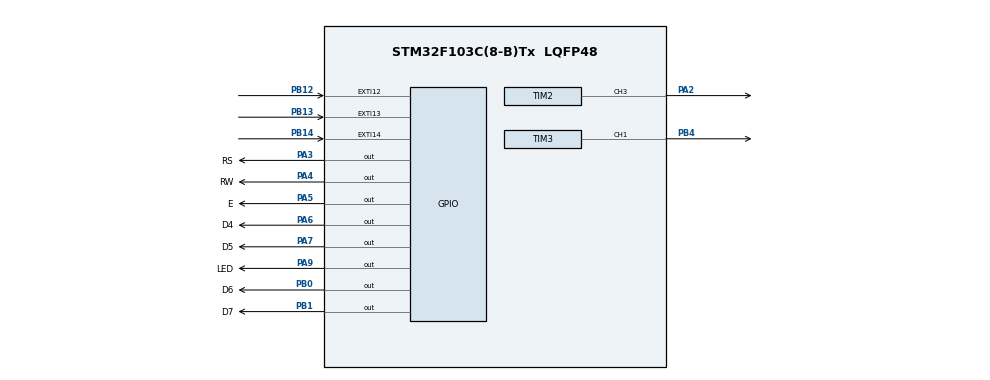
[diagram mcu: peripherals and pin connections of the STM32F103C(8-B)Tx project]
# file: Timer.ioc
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Mcu.Family=STM32F1
PB14.GPIO_ModeDefaultEXTI=GPIO_MODE_IT_FALLING
TIM3.AutoReloadPreload=TIM_AUTORELOAD_PRELOAD_ENABLE
PA9.GPIO_Label=LED
PA6.GPIO_Label=D4
PB0.GPIO_Label=D6
RCC.APB1CLKDivider=RCC_HCLK_DIV2
PB13.Signal=GPXTI13
PB13.GPIO_ModeDefaultEXTI=GPIO_MODE_IT_FALLING
RCC.SYSCLKSource=RCC_SYSCLKSOURCE_PLLCLK
ProjectManager.StackSize=0x400
PA13.Signal=SYS_JTMS-SWDIO
ProjectManager.TargetToolchain=MDK-ARM V5.27
RCC.HCLKFreq_Value=60000000
RCC.APB2TimFreq_Value=60000000
TIM3.Period=0xFFFF-1
PA9.Signal=GPIO_Output
RCC.USBFreq_Value=60000000
RCC.AHBFreq_Value=60000000
TIM3.Channel-Output\ Compare1\ CH1=TIM_CHANNEL_1
NVIC.EXTI15_10_IRQn=true\:0\:0\:false\:false\:true\:true\:true
PB14.Signal=GPXTI14
PA5.Signal=GPIO_Output
board=custom
RCC.PLLMUL=RCC_PLL_MUL15
NVIC.TIM3_IRQn=true\:0\:0\:false\:false\:true\:true\:true
PB13.GPIO_PuPd=GPIO_PULLUP
RCC.APB2Freq_Value=60000000
SH.S_TIM2_CH3.0=TIM2_CH3,PWM Generation3 CH3
PA14.Mode=Serial_Wire
PB1.GPIO_Label=D7
TIM2.Channel-PWM\ Generation3\ CH3=TIM_CHANNEL_3
SH.S_TIM3_CH1.0=TIM3_CH1,Output Compare1 CH1
TIM2.Period=1499
PA13.Mode=Serial_Wire
Mcu.Name=STM32F103C(8-B)Tx
PA2.Signal=S_TIM2_CH3
PA4.Signal=GPIO_Output
RCC.SYSCLKFreq_VALUE=60000000
Mcu.Package=LQFP48
PA6.Signal=GPIO_Output
PB1.Signal=GPIO_Output
PB14.GPIO_PuPd=GPIO_PULLUP
PA7.GPIO_Label=D5
PA5.GPIO_Label=E
PA14.Signal=SYS_JTCK-SWCLK
ProjectManager.HeapSize=0x200
PB12.GPIO_ModeDefaultEXTI=GPIO_MODE_IT_FALLING
NVIC.PriorityGroup=NVIC_PRIORITYGROUP_4
RCC.APB1TimFreq_Value=60000000
TIM2.AutoReloadPreload=TIM_AUTORELOAD_PRELOAD_ENABLE
PB12.GPIO_PuPd=GPIO_PULLUP
RCC.APB1Freq_Value=30000000
PB0.Signal=GPIO_Output
PA4.GPIO_Label=RW
PB12.Signal=GPXTI12
PB4.Signal=S_TIM3_CH1
PA3.GPIO_Label=RS
PA3.Signal=GPIO_Output
PA7.Signal=GPIO_Output

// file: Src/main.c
/* USER CODE BEGIN Header */
/**
  ******************************************************************************
  * @file           : main.c
  * @brief          : Main program body
  ******************************************************************************
  * @attention
  *
  * <h2><center>&copy; Copyright (c) 2020 STMicroelectronics.
  * All rights reserved.</center></h2>
  *
  * This software component is licensed by ST under BSD 3-Clause license,
  * the "License"; You may not use this file except in compliance with the
  * License. You may obtain a copy of the License at:
  *                        opensource.org/licenses/BSD-3-Clause
  *
  ******************************************************************************
  */
/* USER CODE END Header */

#include "main.h"

/* USER CODE BEGIN Includes */
#include <STLib.h>
#include "tm_stm32f4_hd44780.h"
#include "stdbool.h"
#include <stdio.h>
#include <stdlib.h>
/* USER CODE END Includes */

TIM_HandleTypeDef htim2;
TIM_HandleTypeDef htim3;

/* USER CODE BEGIN PV */
uint8_t minute_global;
uint8_t second_global;
uint16_t setTime = 10;
//char setTime[] = {30};
bool start = false;
char str[5];
char str1[5];
//extern uint8_t second;
/* USER CODE END PV */

void SystemClock_Config(void);
static void MX_GPIO_Init(void);
static void MX_TIM2_Init(void);
static void MX_TIM3_Init(void);

int main(void)
{
  /* USER CODE BEGIN 1 */
  SysTick_Config(SystemCoreClock / 72000000);

  /* USER CODE END 1 */

  /* MCU Configuration--------------------------------------------------------*/

  /* Reset of all peripherals, Initializes the Flash interface and the Systick. */
  HAL_Init();

  /* Configure the system clock */
  SystemClock_Config();

  /* Initialize all configured peripherals */
  MX_GPIO_Init();
  MX_TIM2_Init();
  MX_TIM3_Init();
  /* USER CODE BEGIN 2 */
	DWT_Init();
	uint8_t customChar[] = {
		0x1F,
			// xxx 11111
		0x11,
			// xxx 10001
		0x11,
			// xxx 10001
		0x11,
			// xxx 10001
		0x11,
			// xxx 10001
		0x11,
			// xxx 10001
		0x11,
			// xxx 10001
		0x1F	// xxx 11111
	};
	TM_HD44780_Init(20, 4);
	TM_HD44780_CreateChar(0, &customChar[0]);
	TM_HD44780_Puts(0, 0, "UV TIMER");
	TM_HD44780_Puts(0, 1, "SET");
	TM_HD44780_Puts(0, 2, "COUNT");
	TM_HD44780_Puts(10, 2, "000");
	TM_HD44780_Puts(0, 3, "STATUS: ");
	TM_HD44780_Puts(10, 3, "STOP");
	//start = true;
	HAL_TIM_OC_Start_IT(&htim3, TIM_CHANNEL_1);
	TIM2->CR1 = TIM_CR1_CEN | TIM_CR1_ARPE;
	TIM2->CCR3 = 1500;
	//TIM2->CCER = TIM_CCER_CC3E;
	CLEAR_BIT(TIM2->CCER, TIM_CCER_CC3E);
  /* USER CODE END 2 */

  /* Infinite loop */
  while (1)
  {

    /* USER CODE BEGIN 3 */
	  //itoa(setTime, str, 10);
	  //sprintf(setTime, "%d", str);
		//itoa(setTime, str, 10);
	  //sprintf(buffer, "%lu", value32 );
	  sprintf(str, "%u", setTime);
		TM_HD44780_Puts(10, 3, "STOP");
	  TM_HD44780_Puts(10, 1, (char*) str);
		TM_HD44780_Puts(10, 2, "000");
	  //second_global = 0;
  	  while(start)
  	  {
	  	  //itoa(second_global, str1, 10);
				//sprintf(setTime, "%d", str[2]);
				TM_HD44780_Puts(10, 3, "WORK");
		    sprintf(str1, "%u", second_global);
	  	  TM_HD44780_Puts(10, 2, str1);
	  	  if (setTime - second_global <= 0)
	  	  {
		  	  CLEAR_BIT(TIM2->CCER, TIM_CCER_CC3E);
					TM_HD44780_Puts(10, 3, "STOP");
		  	  TM_HD44780_Puts(10, 2, "000");
		  	  start = false;
		  	  delay_ms(20);
		  	  second_global = 0;

	  	  }
  	  }
  }
  /* USER CODE END 3 */
}

void SystemClock_Config(void)
{
  LL_FLASH_SetLatency(LL_FLASH_LATENCY_2);

   if(LL_FLASH_GetLatency() != LL_FLASH_LATENCY_2)
  {
    Error_Handler();
  }
  LL_RCC_HSI_SetCalibTrimming(16);
  LL_RCC_HSI_Enable();

   /* Wait till HSI is ready */
  while(LL_RCC_HSI_IsReady() != 1)
  {

  }
  LL_RCC_PLL_ConfigDomain_SYS(LL_RCC_PLLSOURCE_HSI_DIV_2, LL_RCC_PLL_MUL_15);
  LL_RCC_PLL_Enable();

   /* Wait till PLL is ready */
  while(LL_RCC_PLL_IsReady() != 1)
  {

  }
  LL_RCC_SetAHBPrescaler(LL_RCC_SYSCLK_DIV_1);
  LL_RCC_SetAPB1Prescaler(LL_RCC_APB1_DIV_2);
  LL_RCC_SetAPB2Prescaler(LL_RCC_APB2_DIV_1);
  LL_RCC_SetSysClkSource(LL_RCC_SYS_CLKSOURCE_PLL);

   /* Wait till System clock is ready */
  while(LL_RCC_GetSysClkSource() != LL_RCC_SYS_CLKSOURCE_STATUS_PLL)
  {

  }
  LL_SetSystemCoreClock(60000000);

   /* Update the time base */
  if (HAL_InitTick (TICK_INT_PRIORITY) != HAL_OK)
  {
    Error_Handler();
  };
}

static void MX_TIM2_Init(void)
{

  TIM_MasterConfigTypeDef sMasterConfig = {0};
  TIM_OC_InitTypeDef sConfigOC = {0};

  htim2.Instance = TIM2;
  htim2.Init.Prescaler = 0;
  htim2.Init.CounterMode = TIM_COUNTERMODE_UP;
  htim2.Init.Period = 1499;
  htim2.Init.ClockDivision = TIM_CLOCKDIVISION_DIV1;
  htim2.Init.AutoReloadPreload = TIM_AUTORELOAD_PRELOAD_ENABLE;
  if (HAL_TIM_PWM_Init(&htim2) != HAL_OK)
  {
    Error_Handler();
  }
  sMasterConfig.MasterOutputTrigger = TIM_TRGO_RESET;
  sMasterConfig.MasterSlaveMode = TIM_MASTERSLAVEMODE_DISABLE;
  if (HAL_TIMEx_MasterConfigSynchronization(&htim2, &sMasterConfig) != HAL_OK)
  {
    Error_Handler();
  }
  sConfigOC.OCMode = TIM_OCMODE_PWM1;
  sConfigOC.Pulse = 0;
  sConfigOC.OCPolarity = TIM_OCPOLARITY_HIGH;
  sConfigOC.OCFastMode = TIM_OCFAST_DISABLE;
  if (HAL_TIM_PWM_ConfigChannel(&htim2, &sConfigOC, TIM_CHANNEL_3) != HAL_OK)
  {
    Error_Handler();
  }
  HAL_TIM_MspPostInit(&htim2);

}

static void MX_TIM3_Init(void)
{

  TIM_MasterConfigTypeDef sMasterConfig = {0};
  TIM_OC_InitTypeDef sConfigOC = {0};

  htim3.Instance = TIM3;
  htim3.Init.Prescaler = 0;
  htim3.Init.CounterMode = TIM_COUNTERMODE_UP;
  htim3.Init.Period = 0xFFFF-1;
  htim3.Init.ClockDivision = TIM_CLOCKDIVISION_DIV1;
  htim3.Init.AutoReloadPreload = TIM_AUTORELOAD_PRELOAD_ENABLE;
  if (HAL_TIM_OC_Init(&htim3) != HAL_OK)
  {
    Error_Handler();
  }
  sMasterConfig.MasterOutputTrigger = TIM_TRGO_RESET;
  sMasterConfig.MasterSlaveMode = TIM_MASTERSLAVEMODE_DISABLE;
  if (HAL_TIMEx_MasterConfigSynchronization(&htim3, &sMasterConfig) != HAL_OK)
  {
    Error_Handler();
  }
  sConfigOC.OCMode = TIM_OCMODE_TIMING;
  sConfigOC.Pulse = 0;
  sConfigOC.OCPolarity = TIM_OCPOLARITY_HIGH;
  sConfigOC.OCFastMode = TIM_OCFAST_DISABLE;
  if (HAL_TIM_OC_ConfigChannel(&htim3, &sConfigOC, TIM_CHANNEL_1) != HAL_OK)
  {
    Error_Handler();
  }
  HAL_TIM_MspPostInit(&htim3);

}

static void MX_GPIO_Init(void)
{
  LL_EXTI_InitTypeDef EXTI_InitStruct = {0};
  LL_GPIO_InitTypeDef GPIO_InitStruct = {0};

  /* GPIO Ports Clock Enable */
  LL_APB2_GRP1_EnableClock(LL_APB2_GRP1_PERIPH_GPIOA);
  LL_APB2_GRP1_EnableClock(LL_APB2_GRP1_PERIPH_GPIOB);

  /**/
  LL_GPIO_ResetOutputPin(GPIOA, RS_Pin|RW_Pin|E_Pin|D4_Pin
                          |D5_Pin|LED_Pin);

  /**/
  LL_GPIO_ResetOutputPin(GPIOB, D6_Pin|D7_Pin);

  /**/
  GPIO_InitStruct.Pin = RS_Pin|RW_Pin|E_Pin|D4_Pin
                          |D5_Pin|LED_Pin;
  GPIO_InitStruct.Mode = LL_GPIO_MODE_OUTPUT;
  GPIO_InitStruct.Speed = LL_GPIO_SPEED_FREQ_LOW;
  GPIO_InitStruct.OutputType = LL_GPIO_OUTPUT_PUSHPULL;
  LL_GPIO_Init(GPIOA, &GPIO_InitStruct);

  /**/
  GPIO_InitStruct.Pin = D6_Pin|D7_Pin;
  GPIO_InitStruct.Mode = LL_GPIO_MODE_OUTPUT;
  GPIO_InitStruct.Speed = LL_GPIO_SPEED_FREQ_LOW;
  GPIO_InitStruct.OutputType = LL_GPIO_OUTPUT_PUSHPULL;
  LL_GPIO_Init(GPIOB, &GPIO_InitStruct);

  /**/
  LL_GPIO_AF_SetEXTISource(LL_GPIO_AF_EXTI_PORTB, LL_GPIO_AF_EXTI_LINE12);

  /**/
  LL_GPIO_AF_SetEXTISource(LL_GPIO_AF_EXTI_PORTB, LL_GPIO_AF_EXTI_LINE13);

  /**/
  LL_GPIO_AF_SetEXTISource(LL_GPIO_AF_EXTI_PORTB, LL_GPIO_AF_EXTI_LINE14);

  /**/
  EXTI_InitStruct.Line_0_31 = LL_EXTI_LINE_12;
  EXTI_InitStruct.LineCommand = ENABLE;
  EXTI_InitStruct.Mode = LL_EXTI_MODE_IT;
  EXTI_InitStruct.Trigger = LL_EXTI_TRIGGER_FALLING;
  LL_EXTI_Init(&EXTI_InitStruct);

  /**/
  EXTI_InitStruct.Line_0_31 = LL_EXTI_LINE_13;
  EXTI_InitStruct.LineCommand = ENABLE;
  EXTI_InitStruct.Mode = LL_EXTI_MODE_IT;
  EXTI_InitStruct.Trigger = LL_EXTI_TRIGGER_FALLING;
  LL_EXTI_Init(&EXTI_InitStruct);

  /**/
  EXTI_InitStruct.Line_0_31 = LL_EXTI_LINE_14;
  EXTI_InitStruct.LineCommand = ENABLE;
  EXTI_InitStruct.Mode = LL_EXTI_MODE_IT;
  EXTI_InitStruct.Trigger = LL_EXTI_TRIGGER_FALLING;
  LL_EXTI_Init(&EXTI_InitStruct);

  /**/
  LL_GPIO_SetPinPull(GPIOB, LL_GPIO_PIN_12, LL_GPIO_PULL_UP);

  /**/
  LL_GPIO_SetPinPull(GPIOB, LL_GPIO_PIN_13, LL_GPIO_PULL_UP);

  /**/
  LL_GPIO_SetPinPull(GPIOB, LL_GPIO_PIN_14, LL_GPIO_PULL_UP);

  /**/
  LL_GPIO_SetPinMode(GPIOB, LL_GPIO_PIN_12, LL_GPIO_MODE_INPUT);

  /**/
  LL_GPIO_SetPinMode(GPIOB, LL_GPIO_PIN_13, LL_GPIO_MODE_INPUT);

  /**/
  LL_GPIO_SetPinMode(GPIOB, LL_GPIO_PIN_14, LL_GPIO_MODE_INPUT);

  /* EXTI interrupt init*/
  NVIC_SetPriority(EXTI15_10_IRQn, NVIC_EncodePriority(NVIC_GetPriorityGrouping(),0, 0));
  NVIC_EnableIRQ(EXTI15_10_IRQn);

}

void Error_Handler(void)
{
}

/************************ (C) COPYRIGHT STMicroelectronics *****END OF FILE****/
